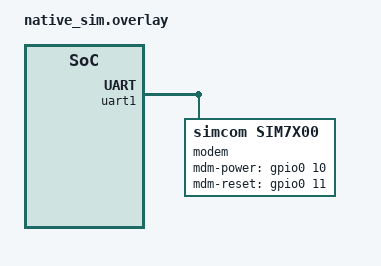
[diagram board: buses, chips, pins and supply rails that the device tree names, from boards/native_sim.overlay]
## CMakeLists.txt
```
# SPDX-License-Identifier: Apache-2.0

cmake_minimum_required(VERSION 3.20.0)
find_package(Zephyr REQUIRED HINTS $ENV{ZEPHYR_BASE})
project(simcom7x00_sample)

target_sources(app PRIVATE src/main.c)
```

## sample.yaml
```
sample:
  description: SIMCOM SIM7x00 modem with GNSS side channel
  name: simcom7x00
tests:
  sample.simcom7x00.build:
    build_only: true
    platform_allow:
      - qemu_x86
```

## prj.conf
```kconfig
CONFIG_GPIO=y
CONFIG_SERIAL=y
CONFIG_MODEM=y
CONFIG_NETWORKING=y
CONFIG_NET_L2_PPP=y
CONFIG_PM_DEVICE=y
CONFIG_UART_INTERRUPT_DRIVEN=y
CONFIG_MODEM_SIMCOM7X00=y
CONFIG_GNSS=y
CONFIG_GNSS_SIMCOM7X00=y
```

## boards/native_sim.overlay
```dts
&uart1 {
	modem: modem {
		compatible = "simcom,sim7x00";
		status = "okay";
		mdm-power-gpios = <&gpio0 10 0>;
		mdm-reset-gpios = <&gpio0 11 0>;

		gnss {
			compatible = "simcom,sim7x00-gnss";
			status = "okay";
		};
	};
};
```

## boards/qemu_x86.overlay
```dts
/ {
	test {
		#address-cells = <1>;
		#size-cells = <1>;

		test_gpio: gpio@deadbeef {
			compatible = "vnd,gpio";
			gpio-controller;
			reg = <0xdeadbeef 0x1000>;
			#gpio-cells = <2>;
			status = "okay";
		};

		test_uart: uart@55556666 {
			compatible = "vnd,serial";
			reg = <0x55556666 0x1000>;
			status = "okay";

			modem: modem {
				compatible = "simcom,sim7x00";
				status = "okay";
				mdm-power-gpios = <&test_gpio 0 0>;
				mdm-reset-gpios = <&test_gpio 0 0>;

				gnss {
					compatible = "simcom,sim7x00-gnss";
					status = "okay";
				};
			};
		};
	};
};
```

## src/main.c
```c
/*
 * SPDX-License-Identifier: Apache-2.0
 */

#include <zephyr/device.h>
#include <zephyr/drivers/gnss.h>
#include <zephyr/kernel.h>

int main(void)
{
	ARG_UNUSED(device_is_ready);
	ARG_UNUSED(gnss_get_supported_systems);

	while (1) {
		k_sleep(K_SECONDS(1));
	}

	return 0;
}
```
